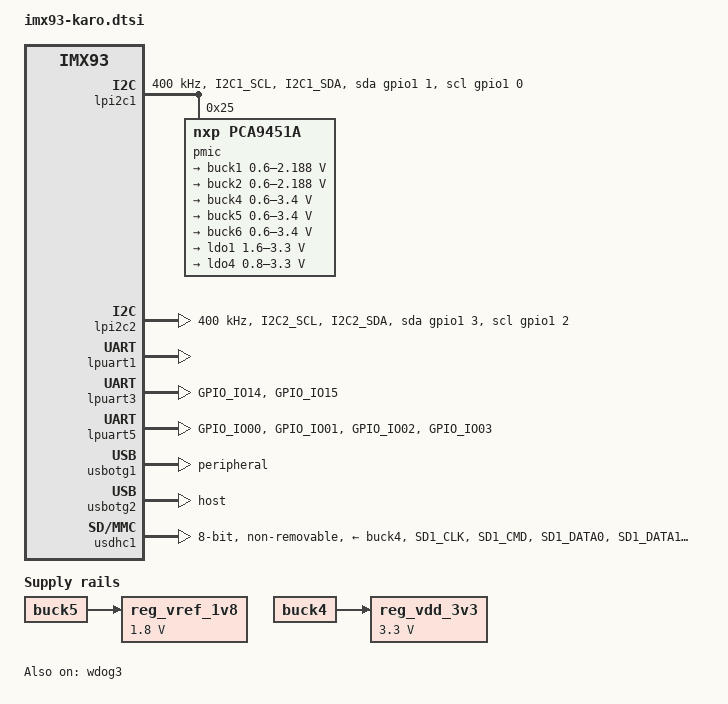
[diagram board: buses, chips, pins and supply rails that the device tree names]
// SPDX-License-Identifier: (GPL-2.0+ OR MIT)
/*
 * Copyright 2023 Lothar Waßmann <LW@KARO-electronics.de>
 */

/dts-v1/;

#include "imx93.dtsi"

/ {
	aliases {
		ethernet0 = &eqos;
		ethernet1 = &fec;
		mmc0 = &usdhc1;
		serial0 = &lpuart1;
		serial1 = &lpuart3;
		serial2 = &lpuart5;
		serial3 = &lpuart4;
		serial4 = &lpuart2;
		usb-host = &usbotg2;
		usbotg = &usbotg1;
	};

	chosen {
		stdout-path = "serial0:115200n8";
	};

	reg_vref_1v8: regulator-adc-vref {
		compatible = "regulator-fixed";
		regulator-name = "vref_1v8";
		regulator-min-microvolt = <1800000>;
		regulator-max-microvolt = <1800000>;
		vin-supply = <&buck5>;
	};

	reg_vdd_3v3: regulator-3v3 {
		compatible = "regulator-fixed";
		regulator-name = "vdd_3v3";
		regulator-min-microvolt = <3300000>;
		regulator-max-microvolt = <3300000>;
		vin-supply = <&buck4>;
	};
};

&lpi2c1 {
	clock-frequency = <400000>;
	pinctrl-names = "default", "gpio";
	pinctrl-0 = <&pinctrl_lpi2c1>;
	pinctrl-1 = <&pinctrl_lpi2c1_gpio>;
	scl-gpios = <&gpio1 0 (GPIO_ACTIVE_HIGH | GPIO_OPEN_DRAIN)>;
	sda-gpios = <&gpio1 1 (GPIO_ACTIVE_HIGH | GPIO_OPEN_DRAIN)>;
	status = "okay";

	pmic: pmic@25 {
		compatible = "nxp,pca9451a";
		pinctrl-names = "default";
		pinctrl-0 = <&pinctrl_pmic>;
		reg = <0x25>;

		regulators {
			buck1: BUCK1 {
				regulator-name = "BUCK1";
				regulator-min-microvolt = <600000>;
				regulator-max-microvolt = <2187500>;
				regulator-boot-on;
				regulator-always-on;
				regulator-ramp-delay = <3125>;
			};

			buck2: BUCK2 {
				regulator-name = "BUCK2";
				regulator-min-microvolt = <600000>;
				regulator-max-microvolt = <2187500>;
				regulator-ramp-delay = <3125>;
			};

			buck4: BUCK4 {
				regulator-name = "BUCK4";
				regulator-min-microvolt = <600000>;
				regulator-max-microvolt = <3400000>;
				regulator-boot-on;
				regulator-always-on;
			};

			buck5: BUCK5 {
				regulator-name = "BUCK5";
				regulator-min-microvolt = <600000>;
				regulator-max-microvolt = <3400000>;
				regulator-boot-on;
				regulator-always-on;
			};

			buck6: BUCK6 {
				regulator-name = "BUCK6";
				regulator-min-microvolt = <600000>;
				regulator-max-microvolt = <3400000>;
				regulator-boot-on;
				regulator-always-on;
			};

			ldo1: LDO1 {
				regulator-name = "LDO1";
				regulator-min-microvolt = <1600000>;
				regulator-max-microvolt = <3300000>;
				regulator-boot-on;
				regulator-always-on;
			};

			ldo4: LDO4 {
				regulator-name = "LDO4";
				regulator-min-microvolt = <800000>;
				regulator-max-microvolt = <3300000>;
				regulator-boot-on;
				regulator-always-on;
			};
		};
	};
};

&lpi2c2 {
	clock-frequency = <400000>;
	pinctrl-names = "default", "gpio";
	pinctrl-0 = <&pinctrl_lpi2c2>;
	pinctrl-1 = <&pinctrl_lpi2c2_gpio>;
	scl-gpios = <&gpio1 2 (GPIO_ACTIVE_HIGH | GPIO_OPEN_DRAIN)>;
	sda-gpios = <&gpio1 3 (GPIO_ACTIVE_HIGH | GPIO_OPEN_DRAIN)>;
	status = "okay";
};

&lpuart1 { /* console */
	pinctrl-names = "default";
	clocks = <&clk IMX93_CLK_LPUART1_GATE>, <&clk IMX93_CLK_LPUART1_GATE>;
	clock-names = "ipg", "per";
	status = "okay";
};

&lpuart3 {
	pinctrl-names = "default";
	pinctrl-0 = <&pinctrl_uart3>;
	clocks = <&clk IMX93_CLK_LPUART3_GATE>, <&clk IMX93_CLK_LPUART3_GATE>;
	clock-names = "ipg", "per";
	status = "okay";
};

&lpuart5 {
	pinctrl-names = "default";
	pinctrl-0 = <&pinctrl_uart5 &pinctrl_uart5_rtscts>;
	clocks = <&clk IMX93_CLK_LPUART5_GATE>, <&clk IMX93_CLK_LPUART5_GATE>;
	clock-names = "ipg", "per";
	uart-has-rtscts;
};

&usbotg1 {
	dr_mode = "peripheral";
	hnp-disable;
	srp-disable;
	adp-disable;
	disable-over-current;
	samsung,picophy-pre-emp-curr-control = <3>;
	samsung,picophy-dc-vol-level-adjust = <7>;
	status = "okay";
};

&usbotg2 {
	dr_mode = "host";
	hnp-disable;
	srp-disable;
	adp-disable;
	disable-over-current;
	samsung,picophy-pre-emp-curr-control = <3>;
	samsung,picophy-dc-vol-level-adjust = <7>;
	status = "okay";
};

&usdhc1 { /* eMMC */
	pinctrl-names = "default";
	pinctrl-0 = <&pinctrl_usdhc1>;
	vmmc-supply = <&buck4>;
	vqmmc-supply = <&buck4>;
	bus-width = <8>;
	no-1-8-v;
	non-removable;
	status = "okay";
};

&wdog3 {
	status = "okay";
};

&iomuxc {
	pinctrl-names = "default";
	status = "okay";

	pinctrl_lpi2c1: lpi2c1grp {
		fsl,pins = <
			MX93_PAD_I2C1_SCL__LPI2C1_SCL				0x40001a1e
			MX93_PAD_I2C1_SDA__LPI2C1_SDA				0x40001a1e
		>;
	};

	pinctrl_lpi2c1_gpio: lpi2c1-gpiogrp {
		fsl,pins = <
			MX93_PAD_I2C1_SCL__GPIO1_IO00				0x40001a1e
			MX93_PAD_I2C1_SDA__GPIO1_IO01				0x40001a1e
		>;
	};

	pinctrl_lpi2c2: lpi2c2grp {
		fsl,pins = <
			MX93_PAD_I2C2_SCL__LPI2C2_SCL				0x40001a1e
			MX93_PAD_I2C2_SDA__LPI2C2_SDA				0x40001a1e
		>;
	};

	pinctrl_lpi2c2_gpio: lpi2c2-gpiogrp {
		fsl,pins = <
			MX93_PAD_I2C2_SCL__GPIO1_IO02				0x40001a1e
			MX93_PAD_I2C2_SDA__GPIO1_IO03				0x40001a1e
		>;
	};

	pinctrl_uart1: uart1grp {
		fsl,pins = <
			MX93_PAD_UART1_TXD__LPUART1_TX				0x31e
			MX93_PAD_UART1_RXD__LPUART1_RX				0x31e
		>;
	};

	pinctrl_uart3: uart3grp {
		fsl,pins = <
			MX93_PAD_GPIO_IO14__LPUART3_TX				0x31e
			MX93_PAD_GPIO_IO15__LPUART3_RX				0x31e
		>;
	};

	pinctrl_uart5: uart5grp {
		fsl,pins = <
			MX93_PAD_GPIO_IO00__LPUART5_TX				0x31e
			MX93_PAD_GPIO_IO01__LPUART5_RX				0x31e
		>;
	};

	pinctrl_uart5_rtscts: uart5-rtsctsgrp {
		fsl,pins = <
			MX93_PAD_GPIO_IO02__LPUART5_CTS_B			0x31e
			MX93_PAD_GPIO_IO03__LPUART5_RTS_B			0x31e
		>;
	};

	pinctrl_usdhc1: usdhc1grp {
		fsl,pins = <
			MX93_PAD_SD1_CLK__USDHC1_CLK				0x09e
			MX93_PAD_SD1_CMD__USDHC1_CMD				0x29e
			MX93_PAD_SD1_DATA0__USDHC1_DATA0			0x29e
			MX93_PAD_SD1_DATA1__USDHC1_DATA1			0x29e
			MX93_PAD_SD1_DATA2__USDHC1_DATA2			0x29e
			MX93_PAD_SD1_DATA3__USDHC1_DATA3			0x29e
			MX93_PAD_SD1_DATA4__USDHC1_DATA4			0x29e
			MX93_PAD_SD1_DATA5__USDHC1_DATA5			0x29e
			MX93_PAD_SD1_DATA6__USDHC1_DATA6			0x29e
			MX93_PAD_SD1_DATA7__USDHC1_DATA7			0x29e
		>;
	};
};
